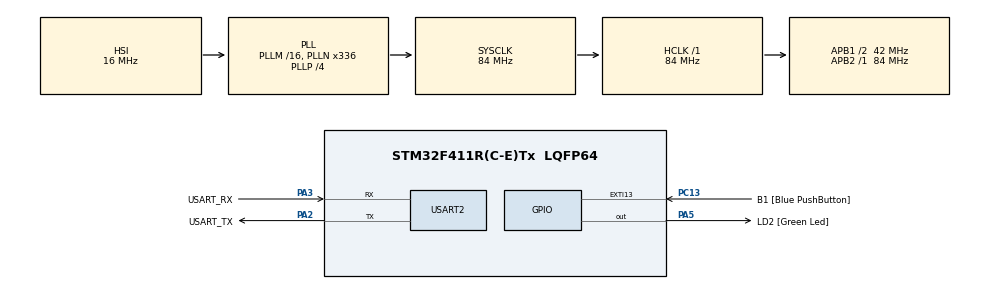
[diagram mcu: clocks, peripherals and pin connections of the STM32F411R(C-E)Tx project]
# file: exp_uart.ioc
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Mcu.Family=STM32F4
Mcu.Name=STM32F411R(C-E)Tx
Mcu.Package=LQFP64
NVIC.EXTI15_10_IRQn=true\:0\:0\:false\:false\:true\:true\:true
NVIC.PriorityGroup=NVIC_PRIORITYGROUP_0
NVIC.USART2_IRQn=true\:0\:0\:false\:false\:true\:true\:true
PA13.GPIO_Label=TMS
PA13.Mode=Serial_Wire
PA13.Signal=SYS_JTMS-SWDIO
PA14.GPIO_Label=TCK
PA14.Mode=Serial_Wire
PA14.Signal=SYS_JTCK-SWCLK
PA2.GPIO_Label=USART_TX
PA2.Mode=Asynchronous
PA2.Signal=USART2_TX
PA3.GPIO_Label=USART_RX
PA3.Mode=Asynchronous
PA3.Signal=USART2_RX
PA5.GPIO_Label=LD2 [Green Led]
PA5.Signal=GPIO_Output
PB3.GPIO_Label=SWO
PB3.Signal=SYS_JTDO-SWO
PC13-ANTI_TAMP.GPIO_Label=B1 [Blue PushButton]
PC13-ANTI_TAMP.GPIO_ModeDefaultEXTI=GPIO_MODE_IT_RISING_FALLING
PC13-ANTI_TAMP.Signal=GPXTI13
PC14-OSC32_IN.Mode=LSE-External-Oscillator
PC14-OSC32_IN.Signal=RCC_OSC32_IN
PC15-OSC32_OUT.Mode=LSE-External-Oscillator
PC15-OSC32_OUT.Signal=RCC_OSC32_OUT
PH0\ -\ OSC_IN.Mode=HSE-External-Clock-Source
PH0\ -\ OSC_IN.Signal=RCC_OSC_IN
PH1\ -\ OSC_OUT.Mode=HSE-External-Clock-Source
PH1\ -\ OSC_OUT.Signal=RCC_OSC_OUT
ProjectManager.HeapSize=0x200
ProjectManager.StackSize=0x400
ProjectManager.TargetToolchain=STM32CubeIDE
RCC.48MHZClocksFreq_Value=84000000
RCC.AHBFreq_Value=84000000
RCC.APB1CLKDivider=RCC_HCLK_DIV2
RCC.APB1Freq_Value=42000000
RCC.APB1TimFreq_Value=84000000
RCC.APB2Freq_Value=84000000
RCC.APB2TimFreq_Value=84000000
RCC.CortexFreq_Value=84000000
RCC.FLatency-AdvancedSettings=FLASH_LATENCY_2
RCC.HCLKFreq_Value=84000000
RCC.HSE_VALUE=8000000
RCC.HSI_VALUE=16000000
RCC.PLLN=336
RCC.PLLP=RCC_PLLP_DIV4
RCC.SYSCLKFreq_VALUE=84000000
RCC.SYSCLKSource=RCC_SYSCLKSOURCE_PLLCLK
RCC.VCOOutputFreq_Value=336000000
USART2.VirtualMode=VM_ASYNC
board=NUCLEO-F411RE

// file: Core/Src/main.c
/* USER CODE BEGIN Header */
/**
  ******************************************************************************
  * @file           : main.c
  * @brief          : Main program body
  ******************************************************************************
  * @attention
  *
  * Copyright (c) 2022 STMicroelectronics.
  * All rights reserved.
  *
  * This software is licensed under terms that can be found in the LICENSE file
  * in the root directory of this software component.
  * If no LICENSE file comes with this software, it is provided AS-IS.
  *
  ******************************************************************************
  */
/* USER CODE END Header */
#include "main.h"

/* USER CODE BEGIN Includes */
#include <stdio.h>
#include <string.h>
/* USER CODE END Includes */

UART_HandleTypeDef huart2;

/* USER CODE BEGIN PV */
char TxDataBuffer[32] ={ 0 };
char RxDataBuffer[1] ={ 0 };

char Checkfromlast[2]={0};
uint8_t subMenu = 0;
uint8_t checkout = 0;
uint16_t LEDtoggle = 500;
uint16_t LED_f = 1;
uint32_t LEDTime = 0;
uint8_t LEDMode = 0;
uint8_t checkclickB1 = 0;
uint8_t B1Status = 0;
/* USER CODE END PV */

void SystemClock_Config(void);
static void MX_GPIO_Init(void);
static void MX_USART2_UART_Init(void);
/* USER CODE BEGIN PFP */
int16_t UARTRecieveIT();
void CodeselectingMenu(uint16_t numselect);
/* USER CODE END PFP */

int main(void)
{

  /* MCU Configuration--------------------------------------------------------*/

  /* Reset of all peripherals, Initializes the Flash interface and the Systick. */
  HAL_Init();

  /* Configure the system clock */
  SystemClock_Config();

  /* Initialize all configured peripherals */
  MX_GPIO_Init();
  MX_USART2_UART_Init();
  /* USER CODE BEGIN 2 */
  char Select_Menu[]="Please Select the Menu from Below\r\n 0.LED Control\r\n 1.button Status\r\n";
  HAL_UART_Transmit(&huart2, (uint8_t*)Select_Menu, strlen(Select_Menu), 10);
  /* USER CODE END 2 */

  /* Infinite loop */
  /* USER CODE BEGIN WHILE */
  while (1)
  {
	static uint32_t timeUpdate =0;
	if(HAL_GetTick()-timeUpdate>=0)
	{
		timeUpdate=HAL_GetTick();

//		HAL_UART_Receive_IT(&huart2, (uint8_t*)RxDataBuffer,1);
		HAL_UART_Receive(&huart2, (uint8_t*)RxDataBuffer,1,0);
		int16_t inputchar = UARTRecieveIT();
		if(inputchar!=-1)
		{
			sprintf(TxDataBuffer, "ReceivedChar:[%c]\r\n", inputchar);		// default function printf
			HAL_UART_Transmit(&huart2, (uint8_t*)TxDataBuffer, strlen(TxDataBuffer), 1000);
			CodeselectingMenu(inputchar);

		}
		static uint32_t timeStamp = 0;
		switch (LEDMode){
		case 0:
				  LEDTime = HAL_GetTick();
				  if(LED_f>=1){
					 LEDtoggle=1000/(LED_f*2);
				  }
				  else{
					  LEDtoggle=0;
				  }
				  if(LEDTime - timeStamp >= LEDtoggle){
					  timeStamp = HAL_GetTick();
					  HAL_GPIO_TogglePin(LD2_GPIO_Port, LD2_Pin);
				  }
			break;
		case 1:
			HAL_GPIO_WritePin(GPIOA, GPIO_PIN_5,GPIO_PIN_RESET);
			break;
		}
	}
    /* USER CODE END WHILE */

  }
}

void SystemClock_Config(void)
{
  RCC_OscInitTypeDef RCC_OscInitStruct = {0};
  RCC_ClkInitTypeDef RCC_ClkInitStruct = {0};

  /** Configure the main internal regulator output voltage
  */
  __HAL_RCC_PWR_CLK_ENABLE();
  __HAL_PWR_VOLTAGESCALING_CONFIG(PWR_REGULATOR_VOLTAGE_SCALE1);
  /** Initializes the RCC Oscillators according to the specified parameters
  * in the RCC_OscInitTypeDef structure.
  */
  RCC_OscInitStruct.OscillatorType = RCC_OSCILLATORTYPE_HSI;
  RCC_OscInitStruct.HSIState = RCC_HSI_ON;
  RCC_OscInitStruct.HSICalibrationValue = RCC_HSICALIBRATION_DEFAULT;
  RCC_OscInitStruct.PLL.PLLState = RCC_PLL_ON;
  RCC_OscInitStruct.PLL.PLLSource = RCC_PLLSOURCE_HSI;
  RCC_OscInitStruct.PLL.PLLM = 16;
  RCC_OscInitStruct.PLL.PLLN = 336;
  RCC_OscInitStruct.PLL.PLLP = RCC_PLLP_DIV4;
  RCC_OscInitStruct.PLL.PLLQ = 4;
  if (HAL_RCC_OscConfig(&RCC_OscInitStruct) != HAL_OK)
  {
    Error_Handler();
  }
  /** Initializes the CPU, AHB and APB buses clocks
  */
  RCC_ClkInitStruct.ClockType = RCC_CLOCKTYPE_HCLK|RCC_CLOCKTYPE_SYSCLK
                              |RCC_CLOCKTYPE_PCLK1|RCC_CLOCKTYPE_PCLK2;
  RCC_ClkInitStruct.SYSCLKSource = RCC_SYSCLKSOURCE_PLLCLK;
  RCC_ClkInitStruct.AHBCLKDivider = RCC_SYSCLK_DIV1;
  RCC_ClkInitStruct.APB1CLKDivider = RCC_HCLK_DIV2;
  RCC_ClkInitStruct.APB2CLKDivider = RCC_HCLK_DIV1;

  if (HAL_RCC_ClockConfig(&RCC_ClkInitStruct, FLASH_LATENCY_2) != HAL_OK)
  {
    Error_Handler();
  }
}

static void MX_USART2_UART_Init(void)
{

  huart2.Instance = USART2;
  huart2.Init.BaudRate = 115200;
  huart2.Init.WordLength = UART_WORDLENGTH_8B;
  huart2.Init.StopBits = UART_STOPBITS_1;
  huart2.Init.Parity = UART_PARITY_NONE;
  huart2.Init.Mode = UART_MODE_TX_RX;
  huart2.Init.HwFlowCtl = UART_HWCONTROL_NONE;
  huart2.Init.OverSampling = UART_OVERSAMPLING_16;
  if (HAL_UART_Init(&huart2) != HAL_OK)
  {
    Error_Handler();
  }

}

static void MX_GPIO_Init(void)
{
  GPIO_InitTypeDef GPIO_InitStruct = {0};

  /* GPIO Ports Clock Enable */
  __HAL_RCC_GPIOC_CLK_ENABLE();
  __HAL_RCC_GPIOH_CLK_ENABLE();
  __HAL_RCC_GPIOA_CLK_ENABLE();
  __HAL_RCC_GPIOB_CLK_ENABLE();

  /*Configure GPIO pin Output Level */
  HAL_GPIO_WritePin(LD2_GPIO_Port, LD2_Pin, GPIO_PIN_RESET);

  /*Configure GPIO pin : B1_Pin */
  GPIO_InitStruct.Pin = B1_Pin;
  GPIO_InitStruct.Mode = GPIO_MODE_IT_RISING_FALLING;
  GPIO_InitStruct.Pull = GPIO_NOPULL;
  HAL_GPIO_Init(B1_GPIO_Port, &GPIO_InitStruct);

  /*Configure GPIO pin : LD2_Pin */
  GPIO_InitStruct.Pin = LD2_Pin;
  GPIO_InitStruct.Mode = GPIO_MODE_OUTPUT_PP;
  GPIO_InitStruct.Pull = GPIO_NOPULL;
  GPIO_InitStruct.Speed = GPIO_SPEED_FREQ_LOW;
  HAL_GPIO_Init(LD2_GPIO_Port, &GPIO_InitStruct);

  /* EXTI interrupt init*/
  HAL_NVIC_SetPriority(EXTI15_10_IRQn, 0, 0);
  HAL_NVIC_EnableIRQ(EXTI15_10_IRQn);

}

/* USER CODE BEGIN 4 */
int16_t UARTRecieveIT()		// this function is to check
{
	static uint32_t dataPos =0;		// track recently position
	int16_t data=-1;
	if(huart2.RxXferSize - huart2.RxXferCount!=dataPos)  // this will work if size - typein don't be zero
	{
		data=RxDataBuffer[dataPos];		//get data of char position in array of RxDataBuffer (the data that return is a number is ASCII)
		dataPos= (dataPos+1)%huart2.RxXferSize;		//calculate if the value is go to the end after mod with size of huart2.RxXferSize will continue to count the first once again
	}
	return data;
}

void CodeselectingMenu(uint16_t numselect){
	//Announce List Menu in char
	char LED_Menu[]="LED Control Menu\r\n a:Speed Up +1Hz\r\n s:Speed Down -1Hz\r\n d:On/off\r\n x:back\r\n";
	char button_Status[]="Button Status Menu\r\n x:back\r\n" ;
	char Selecting_speed_up_LED[]="You are selecting Speed Up +1Hz Function\r\n";
	char Selecting_speed_down_LED[]="You are selecting Speed Down -1Hz Function\r\n";
	char Selecting_On_or_Off_LED[]="You are selecting On/Off Function\r\n";
	char Selecting_back[]="You are selecting back Function\r\n";
	char Select_Menu[]="Please Select the Menu from Below\r\n 0.LED Control\r\n 1.button Status\r\n";
	char Do_not_Press_Button_B1[]="Button B1 don't press\r\n";
	char Press_Button_B1[]="Button B1 press\r\n";
	char Error[]="Input error please try again\r\n";
//	HAL_UART_Transmit(&huart2, (uint8_t*)Select_Menu, strlen(Select_Menu), 10);

	Checkfromlast[subMenu] = numselect;
	if(Checkfromlast[0] == 48 || Checkfromlast[0] == 49){
		switch(Checkfromlast[0]){
			case 48 :
				subMenu = 1;
				if(Checkfromlast[1] == 97 || Checkfromlast[1] == 115 || Checkfromlast[1] == 100 || Checkfromlast[1] == 120){
					switch(Checkfromlast[1]){
						case 97:
							HAL_UART_Transmit(&huart2, (uint8_t*)Selecting_speed_up_LED, strlen(Selecting_speed_up_LED), 10);		// Display Speed Up Function
							LED_f=LED_f+1;
							Checkfromlast[1] = 0;
							checkout=0;
							break;
						case 115:
							HAL_UART_Transmit(&huart2, (uint8_t*)Selecting_speed_down_LED, strlen(Selecting_speed_down_LED), 10);		// Display Speed Down Function
							LED_f=LED_f-1;
							Checkfromlast[1] = 0;
							checkout=0;
							break;
						case 100:
							HAL_UART_Transmit(&huart2, (uint8_t*)Selecting_On_or_Off_LED, strlen(Selecting_On_or_Off_LED), 10);		// Display On/Off Function
							LEDMode^=1;
							Checkfromlast[1] = 0;
							checkout=0;
							break;
						case 120:
							HAL_UART_Transmit(&huart2, (uint8_t*)Selecting_back, strlen(Selecting_back), 10);		// Display Back Function
							Checkfromlast[0] = 0;
							Checkfromlast[1] = 0;
							subMenu = 0;
							checkout=1;
							HAL_UART_Transmit(&huart2, (uint8_t*)Select_Menu, strlen(Select_Menu), 10);
							break;
					}
				}
				else if(Checkfromlast[1] == 0){
						// non data
				}
				else{
					HAL_UART_Transmit(&huart2, (uint8_t*)Error, strlen(Error), 10);
					HAL_UART_Transmit(&huart2, (uint8_t*)LED_Menu, strlen(LED_Menu), 10);
					checkout=1;
				}
				if(checkout!=1){
					HAL_UART_Transmit(&huart2, (uint8_t*)LED_Menu, strlen(LED_Menu), 10);		// Display LED_Menu
				}
				break;

			case 49 :
				HAL_UART_Transmit(&huart2, (uint8_t*)button_Status, strlen(button_Status), 10);		// Display button_Status_Menu
				subMenu = 1;
				checkclickB1 = HAL_GPIO_ReadPin(GPIOC, GPIO_PIN_13);
				if(checkclickB1 == 1){
					HAL_UART_Transmit(&huart2, (uint8_t*)Do_not_Press_Button_B1, strlen(Do_not_Press_Button_B1), 10);
					B1Status=0;
				}
				else if(checkclickB1 == 0){
					HAL_UART_Transmit(&huart2, (uint8_t*)Press_Button_B1, strlen(Press_Button_B1), 10);
					B1Status=1;
				}
				if (Checkfromlast[1] == 120){
					HAL_UART_Transmit(&huart2, (uint8_t*)Selecting_back, strlen(Selecting_back), 10);		// Display Back Function
					Checkfromlast[0] = 0;
					Checkfromlast[1] = 0;
					subMenu = 0;
					HAL_UART_Transmit(&huart2, (uint8_t*)Select_Menu, strlen(Select_Menu), 10);
				}
				else if(Checkfromlast[1] == 0){
					// non data

				}
				else{
					HAL_UART_Transmit(&huart2, (uint8_t*)Error, strlen(Error), 10);
					HAL_UART_Transmit(&huart2, (uint8_t*)button_Status, strlen(button_Status), 10);
				}
				break;
		}
	}
	else if(Checkfromlast[0] == 0){
		// non data
	}
	else{
		HAL_UART_Transmit(&huart2, (uint8_t*)Error, strlen(Error), 10);
		HAL_UART_Transmit(&huart2, (uint8_t*)Select_Menu, strlen(Select_Menu), 10);
	}
}
void HAL_GPIO_EXTI_Callback(uint16_t GPIO_Pin)
{
	char Press_Button_B1[]="Button B1 press\r\n";
	char Do_not_Press_Button_B1[]="Button B1 don't press\r\n";
	if(GPIO_Pin == GPIO_PIN_13)
	{
		if(Checkfromlast[0]==49){
			B1Status^=1;
			if(B1Status==1){
				HAL_UART_Transmit(&huart2, (uint8_t*)Press_Button_B1, strlen(Press_Button_B1), 10);
			}
			else{
				HAL_UART_Transmit(&huart2, (uint8_t*)Do_not_Press_Button_B1, strlen(Do_not_Press_Button_B1), 10);
			}
		}
	}
}
/* USER CODE END 4 */

void Error_Handler(void)
{
  __disable_irq();
  while (1)
  {
  }
}
